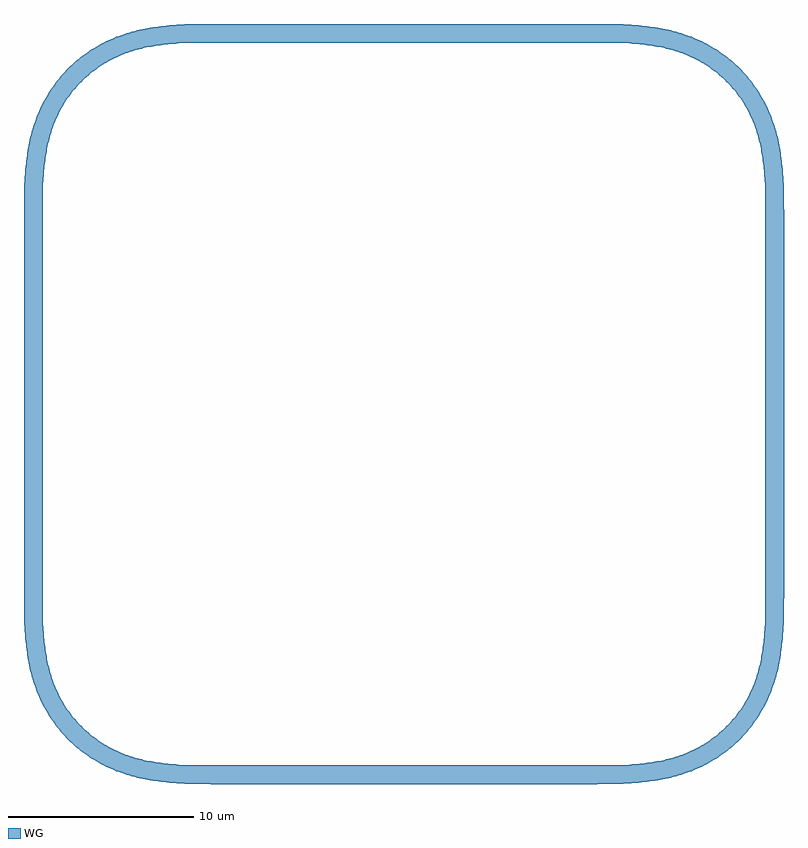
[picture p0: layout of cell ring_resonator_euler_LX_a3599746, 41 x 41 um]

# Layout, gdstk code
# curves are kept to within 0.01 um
from math import pi, radians
import gdstk
lib = gdstk.Library(unit=1e-6, precision=1e-09)
def R(c, l, rs):  # rectangles x0, y0, x1, y1
    for r in rs: c.add(gdstk.rectangle(r[:2], r[2:], *l))
def P(c, l, *ps):  # polygons
    for p in ps: c.add(gdstk.Polygon(p, *l))
WG = (1, 0)

bend_euler_gdsfactorypc_ = lib.new_cell('bend_euler_gdsfactorypc_e1820fd5')
P(bend_euler_gdsfactorypc_, WG, [(0,-0.5),(0,0.5),(1.646,0.519),(2.721,0.588),(3.642,0.715),(4.029,0.793),(4.536,0.923),(4.907,1.042),(5.388,1.23),(5.737,1.396),(6.076,1.581),(6.404,1.786),(6.718,2.01),(7.02,2.252),(7.398,2.602),(7.748,2.98),(7.99,3.282),(8.214,3.596),(8.419,3.924),(8.604,4.263),(8.77,4.612),(8.958,5.093),(9.077,5.464),(9.207,5.971),(9.285,6.358),(9.412,7.279),(9.481,8.354),(9.5,10),(10.5,10),(10.485,8.46),(10.453,7.751),(10.407,7.181),(10.358,6.752),(10.269,6.18),(10.15,5.609),(10.037,5.184),(9.852,4.624),(9.686,4.211),(9.495,3.809),(9.282,3.418),(8.962,2.918),(8.696,2.56),(8.41,2.219),(8.105,1.895),(7.781,1.59),(7.44,1.304),(7.082,1.038),(6.582,0.718),(6.191,0.505),(5.789,0.314),(5.376,0.148),(4.816,-0.037),(4.391,-0.15),(3.82,-0.269),(3.248,-0.358),(2.819,-0.407),(2.249,-0.453),(1.54,-0.485)])

straight_gdsfactorypcom_ = lib.new_cell('straight_gdsfactorypcom_a84c5a0d')
R(straight_gdsfactorypcom_, WG, [(0,-0.5,20,0.5)])

ring_resonator_euler_lx_ = lib.new_cell('ring_resonator_euler_LX_a3599746')
ring_resonator_euler_lx_.add(gdstk.Reference(bend_euler_gdsfactorypc_, (0,0)))
ring_resonator_euler_lx_.add(gdstk.Reference(straight_gdsfactorypcom_, (10,10), rotation=pi/2))
ring_resonator_euler_lx_.add(gdstk.Reference(bend_euler_gdsfactorypc_, (10,30), rotation=pi/2))
ring_resonator_euler_lx_.add(gdstk.Reference(straight_gdsfactorypcom_, (0,40), rotation=pi))
ring_resonator_euler_lx_.add(gdstk.Reference(straight_gdsfactorypcom_, (-30,30), rotation=3*pi/2, x_reflection=True))
ring_resonator_euler_lx_.add(gdstk.Reference(bend_euler_gdsfactorypc_, (-20,40), rotation=pi))
ring_resonator_euler_lx_.add(gdstk.Reference(bend_euler_gdsfactorypc_, (-30,10), rotation=3*pi/2))
ring_resonator_euler_lx_.add(gdstk.Reference(straight_gdsfactorypcom_, (-20,0)))

lib.write_gds('ring_resonator_euler_LX_a3599746.gds')
